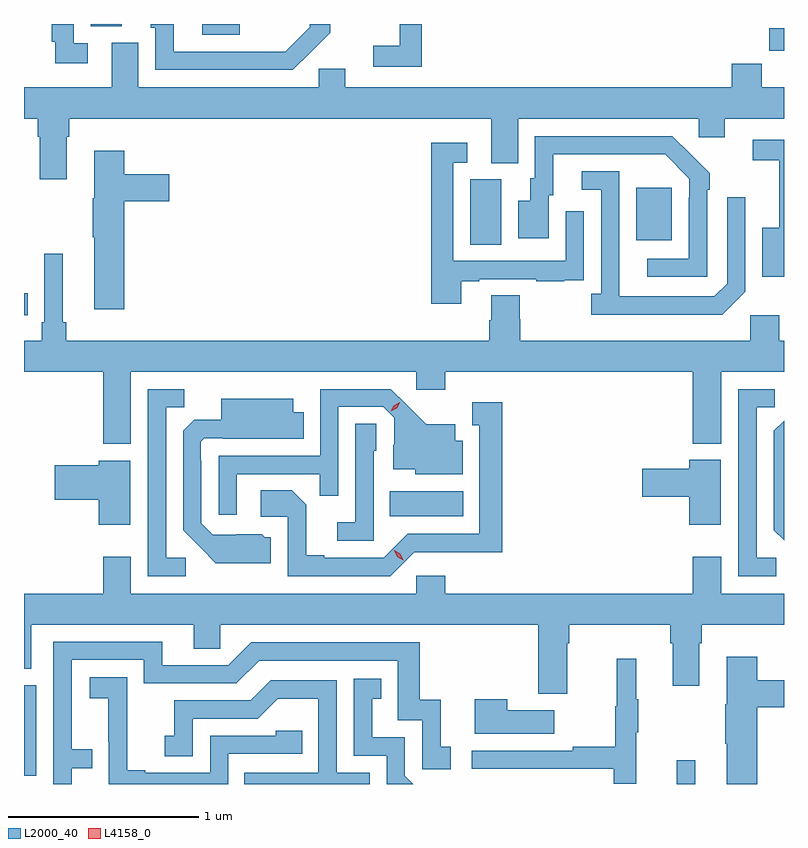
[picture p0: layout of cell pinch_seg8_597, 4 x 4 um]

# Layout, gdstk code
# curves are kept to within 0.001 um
import gdstk
lib = gdstk.Library(unit=1e-6, precision=1e-09)
def R(c, l, rs):  # rectangles x0, y0, x1, y1
    for r in rs: c.add(gdstk.rectangle(r[:2], r[2:], *l))
def P(c, l, *ps):  # polygons
    for p in ps: c.add(gdstk.Polygon(p, *l))
L2000_40 = (2000, 40)
L4158_0 = (4158, 0)

pinch_seg8_597 = lib.new_cell('pinch_seg8_597')
R(pinch_seg8_597, L2000_40, [(156.639,1098.346,156.736,1098.472), (153.203,1098.39,153.267,1098.867), (155.128,1099.754,155.515,1099.888), (153.203,1100.814,153.224,1100.93), (155.552,1101.184,155.716,1101.528), (156.425,1101.209,156.613,1101.484), (157.126,1102.206,157.203,1102.324), (154.14,1102.29,154.338,1102.346), (153.554,1102.333,153.718,1102.346)])
P(pinch_seg8_597, L2000_40, [(155.297,1102.346),(155.18,1102.346),(155.18,1102.231),(155.04,1102.231),(155.04,1102.122),(155.297,1102.122)],
  [(153.538,1102.245),(153.465,1102.245),(153.465,1102.346),(153.349,1102.346),(153.349,1102.252),(153.368,1102.252),(153.368,1102.14),(153.538,1102.14)],
  [(154.709,1102.195),(154.71,1102.194),(154.815,1102.299),(154.815,1102.346),(154.707,1102.346),(154.707,1102.329),(154.579,1102.201),(154.475,1102.2),(153.991,1102.2),(153.991,1102.346),(153.869,1102.346),(153.869,1102.326),(153.894,1102.326),(153.894,1102.104),(154.618,1102.104)],
  [(153.427,1101.752),(153.44,1101.752),(153.44,1101.848),(155.663,1101.848),(155.663,1101.613),(155.803,1101.613),(155.803,1101.848),(156.753,1101.848),(156.753,1101.75),(156.892,1101.75),(156.892,1101.848),(157.203,1101.848),(157.203,1102.012),(157.085,1102.012),(157.085,1102.136),(156.929,1102.136),(156.929,1102.012),(154.894,1102.012),(154.894,1102.11),(154.755,1102.11),(154.755,1102.012),(153.805,1102.012),(153.805,1102.248),(153.665,1102.248),(153.665,1102.012),(153.203,1102.012),(153.203,1101.848),(153.275,1101.848),(153.275,1101.752),(153.287,1101.752),(153.287,1101.528),(153.427,1101.528)],
  [(156.798,1101.473),(156.813,1101.473),(156.813,1101.561),(156.616,1101.756),(155.892,1101.756),(155.892,1101.534),(155.867,1101.534),(155.867,1101.415),(155.804,1101.415),(155.804,1101.219),(155.965,1101.219),(155.965,1101.444),(155.989,1101.444),(155.989,1101.66),(156.577,1101.66),(156.705,1101.531),(156.705,1101.431),(156.702,1101.431),(156.702,1101.111),(156.483,1101.111),(156.483,1101.015),(156.798,1101.015)],
  [(157.203,1101.738),(157.038,1101.738),(157.038,1101.63),(157.178,1101.63),(157.178,1101.274),(157.088,1101.274),(157.088,1101.017),(157.203,1101.017)],
  [(155.503,1100.991),(155.599,1100.991),(155.599,1101.003),(155.899,1101.003),(155.899,1100.991),(156.047,1100.991),(156.047,1100.997),(156.149,1100.997),(156.149,1101.106),(156.15,1101.106),(156.15,1101.361),(156.054,1101.361),(156.054,1101.099),(155.463,1101.099),(155.463,1101.615),(155.536,1101.615),(155.536,1101.721),(155.347,1101.721),(155.347,1100.874),(155.503,1100.874)],
  [(153.731,1101.413),(153.967,1101.413),(153.967,1101.555),(153.731,1101.555),(153.731,1101.679),(153.572,1101.679),(153.572,1101.429),(153.565,1101.429),(153.565,1101.223),(153.572,1101.223),(153.572,1100.844),(153.731,1100.844)],
  [(156.999,1100.937),(156.999,1101.433),(156.903,1101.433),(156.903,1100.979),(156.837,1100.913),(156.337,1100.913),(156.336,1101.57),(156.138,1101.57),(156.138,1101.474),(156.24,1101.474),(156.24,1100.926),(156.189,1100.926),(156.189,1100.816),(156.878,1100.816)],
  [(153.766,1100.516),(155.268,1100.516),(155.268,1100.421),(155.42,1100.421),(155.42,1100.516),(156.722,1100.516),(156.722,1100.138),(156.874,1100.138),(156.874,1100.516),(157.203,1100.516),(157.203,1100.68),(157.178,1100.68),(157.178,1100.812),(157.026,1100.812),(157.026,1100.68),(155.816,1100.68),(155.816,1100.793),(155.811,1100.793),(155.811,1100.918),(155.663,1100.918),(155.663,1100.786),(155.651,1100.786),(155.651,1100.68),(153.425,1100.68),(153.425,1100.776),(153.406,1100.776),(153.406,1101.136),(153.309,1101.136),(153.309,1100.776),(153.296,1100.776),(153.296,1100.68),(153.203,1100.68),(153.203,1100.516),(153.619,1100.516),(153.619,1100.136),(153.766,1100.136)],
  [(157.162,1099.536),(157.059,1099.536),(157.059,1100.329),(157.155,1100.329),(157.155,1100.424),(156.963,1100.424),(156.963,1099.44),(157.162,1099.44)],
  [(154.054,1099.536),(153.951,1099.536),(153.951,1100.329),(154.047,1100.329),(154.047,1100.424),(153.855,1100.424),(153.855,1099.44),(154.054,1099.44)],
  [(154.323,1099.977),(154.759,1099.977),(154.759,1099.864),(154.857,1099.864),(154.857,1100.331),(155.094,1100.331),(155.151,1100.274),(155.151,1100.132),(155.147,1100.132),(155.147,1100.003),(155.262,1100.003),(155.262,1099.976),(155.512,1099.976),(155.512,1100.152),(155.473,1100.152),(155.473,1100.239),(155.321,1100.239),(155.134,1100.424),(154.761,1100.424),(154.761,1100.073),(154.227,1100.073),(154.227,1099.764),(154.323,1099.764)],
  [(154.501,1099.644),(154.47,1099.644),(154.454,1099.66),(154.197,1099.659),(154.137,1099.719),(154.137,1100.048),(154.134,1100.048),(154.134,1100.148),(154.152,1100.166),(154.252,1100.166),(154.252,1100.162),(154.676,1100.162),(154.676,1100.302),(154.621,1100.302),(154.621,1100.374),(154.241,1100.374),(154.241,1100.263),(154.1,1100.263),(154.041,1100.204),(154.041,1099.682),(154.213,1099.508),(154.501,1099.508)],
  [(155.256,1099.566),(155.719,1099.565),(155.719,1100.356),(155.561,1100.356),(155.561,1100.235),(155.6,1100.235),(155.6,1099.662),(155.223,1099.662),(155.097,1099.536),(154.783,1099.536),(154.783,1099.549),(154.689,1099.549),(154.689,1099.816),(154.613,1099.892),(154.449,1099.892),(154.449,1099.752),(154.59,1099.752),(154.59,1099.44),(155.13,1099.44)],
  [(157.203,1100.258),(157.149,1100.204),(157.149,1099.682),(157.203,1099.628)],
  [(155.043,1100.1),(155.058,1100.1),(155.058,1100.243),(154.947,1100.243),(154.947,1099.723),(154.851,1099.723),(154.851,1099.626),(155.043,1099.626)],
  [(156.871,1100.053),(156.704,1100.053),(156.704,1100.006),(156.456,1100.006),(156.456,1099.859),(156.704,1099.859),(156.704,1099.71),(156.871,1099.71)],
  [(153.763,1100.047),(153.596,1100.047),(153.596,1100.024),(153.366,1100.024),(153.366,1099.841),(153.596,1099.841),(153.596,1099.71),(153.763,1099.71)],
  [(155.268,1099.441),(155.268,1099.348),(153.766,1099.348),(153.766,1099.543),(153.619,1099.543),(153.619,1099.348),(153.203,1099.348),(153.203,1098.952),(153.241,1098.952),(153.241,1099.184),(154.097,1099.184),(154.097,1099.057),(154.236,1099.057),(154.236,1099.184),(155.909,1099.184),(155.909,1098.822),(156.061,1098.822),(156.061,1099.088),(156.074,1099.088),(156.074,1099.184),(156.605,1099.184),(156.605,1099.088),(156.617,1099.088),(156.617,1098.864),(156.757,1098.864),(156.757,1099.088),(156.77,1099.088),(156.77,1099.184),(157.203,1099.184),(157.203,1099.348),(156.874,1099.348),(156.874,1099.543),(156.722,1099.543),(156.722,1099.348),(155.42,1099.348),(155.42,1099.441)],
  [(153.453,1098.429),(153.563,1098.429),(153.563,1098.53),(153.453,1098.53),(153.453,1098.999),(153.834,1098.999),(153.834,1098.876),(154.32,1098.876),(154.44,1098.996),(155.169,1098.996),(155.169,1098.681),(155.298,1098.681),(155.298,1098.423),(155.449,1098.423),(155.449,1098.543),(155.396,1098.543),(155.396,1098.79),(155.285,1098.79),(155.285,1099.092),(154.398,1099.092),(154.278,1098.972),(153.931,1098.972),(153.931,1099.095),(153.357,1099.095),(153.357,1098.346),(153.453,1098.346)],
  [(157.061,1098.749),(157.203,1098.749),(157.203,1098.891),(157.061,1098.891),(157.061,1099.015),(156.902,1099.015),(156.902,1098.765),(156.895,1098.765),(156.895,1098.559),(156.902,1098.559),(156.902,1098.346),(157.061,1098.346)],
  [(156.425,1098.619),(156.436,1098.619),(156.436,1098.793),(156.425,1098.793),(156.425,1099.006),(156.322,1099.006),(156.322,1098.756),(156.315,1098.756),(156.315,1098.542),(156.091,1098.542),(156.091,1098.522),(155.559,1098.522),(155.559,1098.426),(156.307,1098.426),(156.307,1098.348),(156.425,1098.348)],
  [(154.278,1098.504),(154.667,1098.504),(154.667,1098.627),(154.527,1098.627),(154.527,1098.6),(154.182,1098.6),(154.182,1098.405),(153.841,1098.405),(153.841,1098.418),(153.746,1098.418),(153.746,1098.701),(153.747,1098.701),(153.747,1098.907),(153.549,1098.907),(153.549,1098.797),(153.647,1098.797),(153.647,1098.569),(153.648,1098.569),(153.648,1098.346),(154.278,1098.346)],
  [(155.208,1098.39),(155.208,1098.591),(155.035,1098.591),(155.035,1098.795),(155.084,1098.795),(155.084,1098.901),(154.938,1098.901),(154.938,1098.495),(155.112,1098.495),(155.112,1098.346),(155.252,1098.346)],
  [(155.022,1098.405),(154.848,1098.405),(154.848,1098.891),(154.502,1098.891),(154.397,1098.786),(153.994,1098.786),(153.994,1098.601),(153.945,1098.601),(153.945,1098.492),(154.092,1098.492),(154.092,1098.69),(154.434,1098.69),(154.538,1098.794),(154.752,1098.794),(154.752,1098.405),(154.363,1098.405),(154.363,1098.346),(155.022,1098.346)],
  [(155.995,1098.733),(155.747,1098.733),(155.747,1098.793),(155.576,1098.793),(155.576,1098.611),(155.995,1098.611)])
P(pinch_seg8_597, L4158_0, [(155.199,1099.524),(155.168,1099.543),(155.151,1099.576),(155.151,1099.576),(155.151,1099.576),(155.182,1099.557),(155.199,1099.524),(155.199,1099.524)],
  [(155.133,1100.309),(155.133,1100.309),(155.15,1100.338),(155.181,1100.354),(155.181,1100.354),(155.181,1100.353),(155.164,1100.324),(155.133,1100.309)])

lib.write_gds('pinch_seg8_597.gds')
